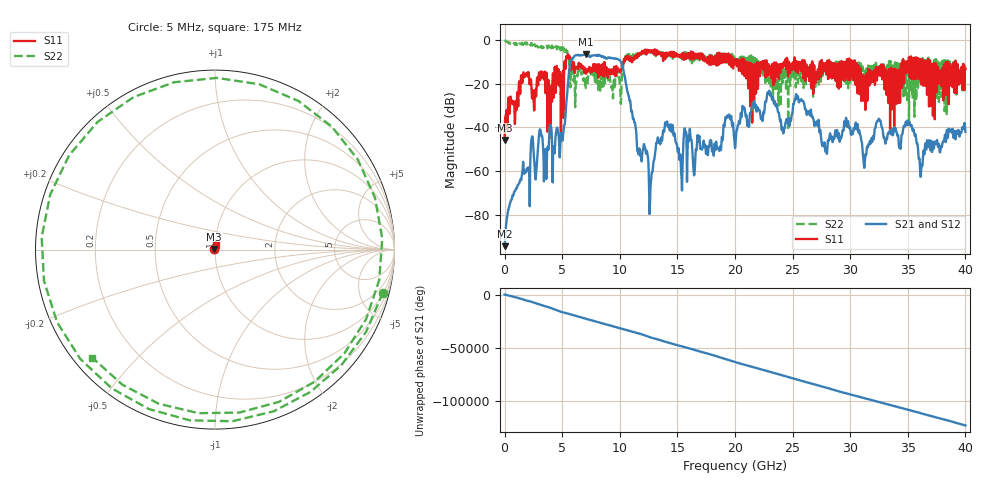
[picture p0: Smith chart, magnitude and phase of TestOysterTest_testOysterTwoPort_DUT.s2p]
! File created by SignalIntegrity v1.1.1: Signal and Power Integrity Tools
! https://github.com/TeledyneLeCroy/SignalIntegrity
# MHz MA S R 50.0
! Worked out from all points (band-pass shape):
!   8000 points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, 5 MHz to 40 GHz, reference 50 ohm
!   highest |S21| = -6.60 dB at 7.04 GHz (marker M1); lowest = -94.4 dB at 5 MHz (marker M2)
!   |S21| within 3 dB of the highest: 5.741 GHz to 10.04 GHz (4.3 GHz wide, 54.5 % of centre)
!   lowest |S11| = -45.8 dB at 5 MHz (marker M3), VSWR 1.01, Z = 49.5 + j0.0677 ohm
!   |S11| at or under -10 dB: start of sweep to 5.205 GHz; 5.857 GHz to 10.32 GHz (4.467 GHz wide, 55.2 % of centre); 30.4 GHz to 34.56 GHz (4.159 GHz wide, 12.8 % of centre)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
!   |S22| runs from -40.4 to -0.3 dB; largest |S21 - S12| = 5.6e-06
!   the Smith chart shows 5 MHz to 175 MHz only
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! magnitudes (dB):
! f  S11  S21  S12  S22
! 5 MHz  -45.8  -94.4  -94.4  -0.3
! 1.775 GHz  -15.9  -60.1  -60.1  -1.3
! 4.925 GHz  -18.8  -43.0  -43.0  -3.5
! 5.75 GHz  -13.6  -9.5  -9.5  -16.0
! 6.675 GHz  -11.6  -7.0  -7.0  -15.7
! 7.04 GHz  -14.9  -6.6  -6.6  -21.6
! 10.1 GHz  -14.3  -10.1  -10.1  -29.3
! 12.68 GHz  -5.4  -66.5  -66.5  -5.8
! 13.34 GHz  -5.6  -45.7  -45.7  -6.0
! 14.26 GHz  -6.8  -39.1  -39.1  -7.4
! 15.3 GHz  -7.6  -58.1  -58.1  -8.1
! 19.35 GHz  -10.0  -34.6  -34.6  -10.5
! 20 GHz  -11.2  -49.5  -49.5  -10.0
! 22.96 GHz  -15.2  -23.3  -23.3  -19.9
! 24.18 GHz  -11.1  -42.8  -42.8  -14.7
! 25.32 GHz  -10.6  -24.9  -24.9  -15.2
! 26.67 GHz  -11.3  -35.2  -35.2  -11.8
! 27.84 GHz  -10.8  -51.1  -51.1  -10.9
! 33.34 GHz  -17.7  -42.9  -42.9  -12.7
! 35.16 GHz  -14.6  -37.7  -37.7  -12.7
! 36.12 GHz  -10.0  -62.4  -62.4  -8.7
! 40 GHz  -13.3  -42.1  -42.1  -12.6
